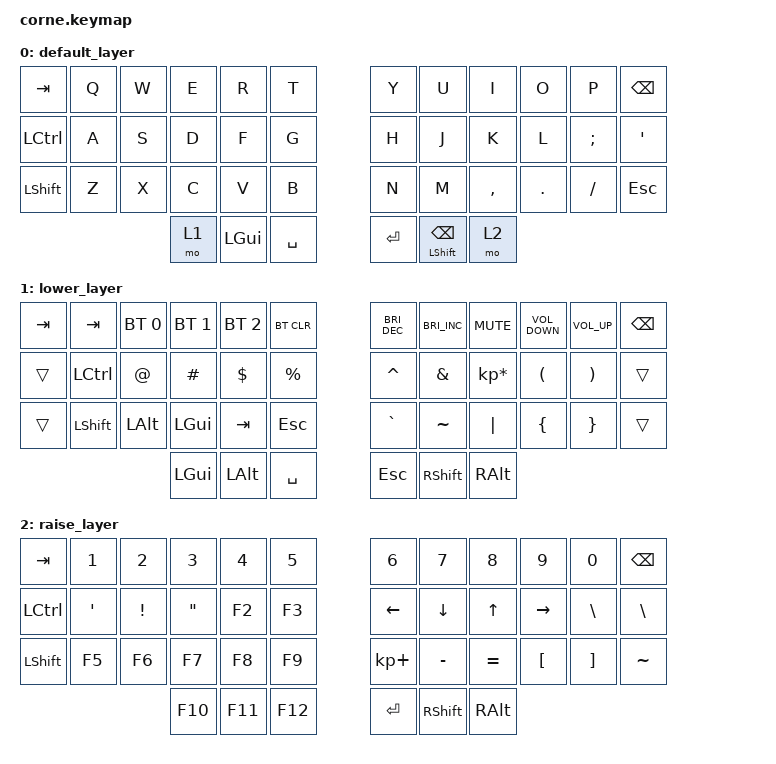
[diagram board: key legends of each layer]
/*
 * Copyright (c) 2020 The ZMK Contributors
 *
 * SPDX-License-Identifier: MIT
 */

#include <behaviors.dtsi>
#include <dt-bindings/zmk/keys.h>
#include <dt-bindings/zmk/bt.h>
#include <dt-bindings/zmk/ext_power.h>

/ {
        keymap {
                compatible = "zmk,keymap";

                default_layer {
// -----------------------------------------------------------------------------------------
// |  TAB |  Q  |  W  |  E  |  R  |  T  |   |  Y  |  U   |  I  |  O  |  P  | BKSP |
// | CTRL |  A  |  S  |  D  |  F  |  G  |   |  H  |  J   |  K  |  L  |  ;  |  '   |
// | SHFT |  Z  |  X  |  C  |  V  |  B  |   |  N  |  M   |  ,  |  .  |  /  | ESC  |
//                    | GUI | LWR | SPC |   | ENT | BSPC  | ALT |
                        bindings = <
   &kp TAB   &kp Q &kp W &kp E &kp R &kp T   &kp Y &kp U  &kp I     &kp O   &kp P    &kp BSPC
   &kp LCTRL &kp A &kp S &kp D &kp F &kp G   &kp H &kp J  &kp K     &kp L   &kp SEMI &kp SQT
   &kp LSHFT &kp Z &kp X &kp C &kp V &kp B   &kp N &kp M  &kp COMMA &kp DOT &kp FSLH &kp ESC
                  &mo 1 &kp LGUI &kp SPACE   &kp RET &mt LSHIFT BSPC &mo 2
                        >;
                };
                lower_layer {
// -----------------------------------------------------------------------------------------
// |  TAB |  1  |  2  |  3  |  4  |  5  |   |  6  |  7  |  8  |  9  |  0  | BKSP |
// | BTCLR| BT1 | BT2 | BT3 | BT4 | BT5 |   | LFT | DWN |  UP | RGT |     |      |
// | SHFT |     |     |     |     |     |   |     |     |     |     |     |      |
//                    | GUI |     | SPC |   | ENT |     | ALT |
                        bindings = <
   &kp TAB    &kp TAB      &bt BT_SEL 0 &bt BT_SEL 1 &bt BT_SEL 2 &bt BT_CLR     &kp C_BRI_DEC &kp C_BRI_INC    &kp C_MUTE &kp C_VOLUME_DOWN &kp C_VOLUME_UP   &kp BSPC
   &trans     &kp LCTRL    &kp AT       &kp HASH     &kp DOLLAR   &kp PRCNT      &kp CARET &kp AMPS  &kp KP_MULTIPLY &kp LPAR  &kp RPAR &trans
   &trans     &kp LSHFT    &kp LALT    &kp LGUI       &kp TAB       &kp ESC         &kp GRAVE &kp TILDE &kp PIPE        &kp LBRC  &kp RBRC &trans
                          	        &kp LGUI     &kp LALT       &kp SPACE      &kp ESC &kp RSHFT   &kp RALT
                        >;
                };

                raise_layer {
// -----------------------------------------------------------------------------------------
// |  TAB |  !  |  @  |  #  |  $  |  %  |   |  ^  |  &  |  *  |  (  |  )  | BKSP |
// | CTRL |     |     |     |     |     |   | <-  |  v  |  ^  |  -> |  \  |  `   |
// | SHFT |     |     |     |     |     |   |  _  |  +  |  {  |  }  | "|" |  ~   |
//                    | GUI |     | SPC |   | ENT |     | ALT |
                        bindings = <
   &kp  TAB  &kp N1       &kp N2       &kp N3       &kp N4       &kp N5         &kp N6    &kp N7    &kp N8          &kp N9    &kp N0 &kp BSPC
   &kp LCTRL &kp SQT   &kp EXCL &kp DQT &kp F2   &kp F3        &kp LEFT  &kp DOWN  &kp UP          &kp RIGHT &kp BSLH &kp BSLH
   &kp LSHFT &kp F5   &kp F6 &kp F7   &kp F8   &kp F9      &kp KP_PLUS &kp MINUS &kp EQUAL &kp LBKT &kp RBKT  &kp TILDE
                    	     &kp F10 &kp F11   &kp F12   &kp RET   &kp RSHFT &kp RALT
                        >;
                };
        };
};
